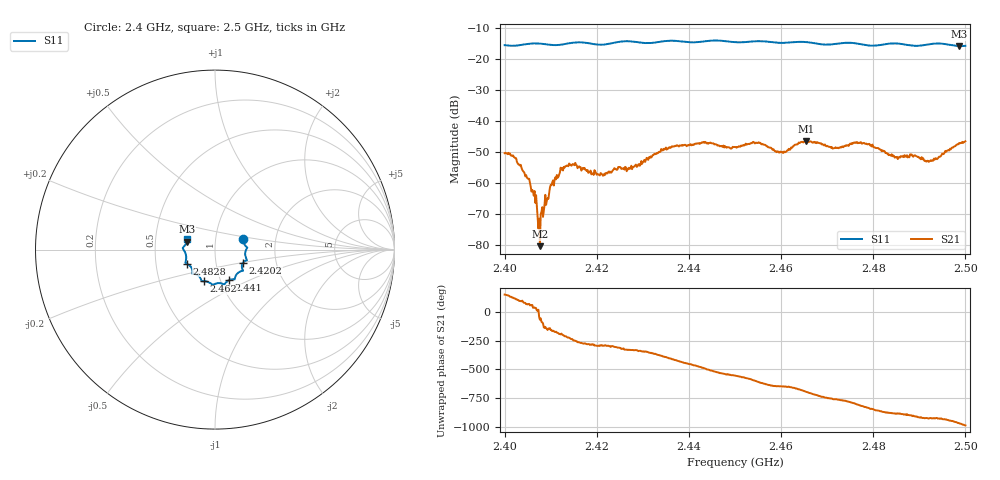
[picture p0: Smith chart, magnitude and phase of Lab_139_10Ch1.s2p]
# Hz S RI R 50
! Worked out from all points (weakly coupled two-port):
!   601 points, 2.4 GHz to 2.5 GHz, reference 50 ohm
!   highest |S21| = -46.41 dB at 2.4653 GHz (marker M1); lowest = -80.3 dB at 2.4077 GHz (marker M2)
!   lowest |S11| = -15.8 dB at 2.4987 GHz (marker M3), VSWR 1.39, Z = 36.3 + j3.25 ohm
!   |S11| at or under -10 dB: start of sweep to end of sweep
!   S12 and S22 are empty: the file has one direction only
!   S11 on the Smith chart (normalised r, x): 2.4 GHz: 1.36, +0.17; 2.4202 GHz: 1.35, -0.20; 2.441 GHz: 1.10, -0.39; 2.462 GHz: 0.83, -0.30; 2.4828 GHz: 0.72, -0.12; 2.5 GHz: 0.73, +0.09
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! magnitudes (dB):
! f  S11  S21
! 2.4 GHz  -15.5  -50.3
! 2.402 GHz  -15.6  -51.6
! 2.405 GHz  -15.1  -58.4
! 2.4065 GHz  -14.9  -62.5
! 2.4072 GHz  -14.9  -70.5
! 2.4077 GHz  -14.9  -80.3
! 2.4103 GHz  -15.4  -59.9
! 2.4125 GHz  -15.2  -55.1
! 2.4167 GHz  -14.6  -55.9
! 2.4202 GHz  -15.3  -57.0
! 2.4333 GHz  -14.5  -50.2
! 2.441 GHz  -14.6  -47.5
! 2.45 GHz  -14.5  -48.3
! 2.462 GHz  -14.6  -49.1
! 2.4653 GHz  -14.4  -46.4
! 2.4667 GHz  -14.7  -46.7
! 2.4777 GHz  -15.3  -47.2
! 2.4828 GHz  -15.1  -50.2
! 2.4833 GHz  -15.0  -50.9
! 2.4925 GHz  -15.1  -52.6
! 2.4987 GHz  -15.8  -47.0
! 2.5 GHz  -15.6  -46.4
